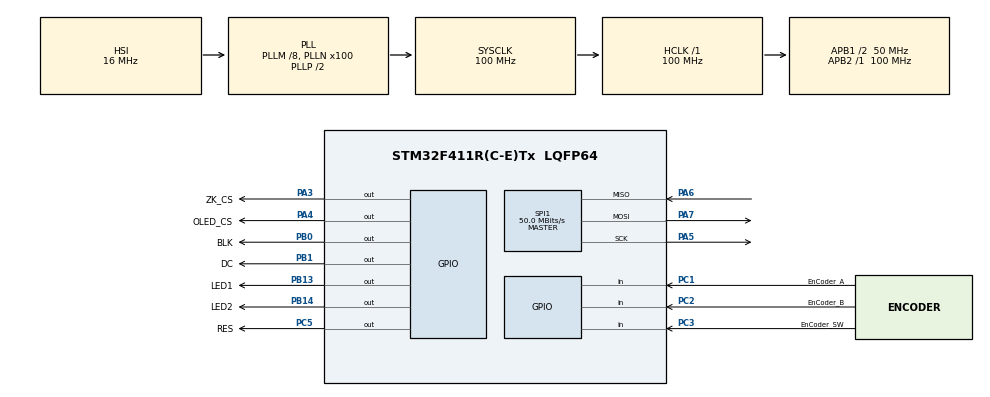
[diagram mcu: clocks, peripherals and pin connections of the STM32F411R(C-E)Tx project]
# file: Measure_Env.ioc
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Dma.Request0=SPI1_TX
Dma.SPI1_TX.0.Direction=DMA_MEMORY_TO_PERIPH
Dma.SPI1_TX.0.FIFOMode=DMA_FIFOMODE_DISABLE
Dma.SPI1_TX.0.Instance=DMA2_Stream2
Dma.SPI1_TX.0.MemDataAlignment=DMA_MDATAALIGN_BYTE
Dma.SPI1_TX.0.MemInc=DMA_MINC_ENABLE
Dma.SPI1_TX.0.Mode=DMA_NORMAL
Dma.SPI1_TX.0.PeriphDataAlignment=DMA_PDATAALIGN_BYTE
Dma.SPI1_TX.0.PeriphInc=DMA_PINC_DISABLE
Dma.SPI1_TX.0.Priority=DMA_PRIORITY_MEDIUM
Mcu.Family=STM32F4
Mcu.Name=STM32F411R(C-E)Tx
Mcu.Package=LQFP64
NVIC.DMA2_Stream2_IRQn=true\:0\:0\:false\:false\:true\:false\:true
NVIC.PriorityGroup=NVIC_PRIORITYGROUP_4
NVIC.TIM1_UP_TIM10_IRQn=true\:0\:0\:false\:false\:true\:true\:true
PA13.Mode=Serial_Wire
PA13.Signal=SYS_JTMS-SWDIO
PA14.Mode=Serial_Wire
PA14.Signal=SYS_JTCK-SWCLK
PA3.GPIO_Label=ZK_CS
PA3.GPIO_Speed=GPIO_SPEED_FREQ_VERY_HIGH
PA3.Signal=GPIO_Output
PA4.GPIO_Label=OLED_CS
PA4.GPIO_Speed=GPIO_SPEED_FREQ_VERY_HIGH
PA4.Signal=GPIO_Output
PA5.Mode=Full_Duplex_Master
PA5.Signal=SPI1_SCK
PA6.Mode=Full_Duplex_Master
PA6.Signal=SPI1_MISO
PA7.Mode=Full_Duplex_Master
PA7.Signal=SPI1_MOSI
PB0.GPIO_Label=BLK
PB0.GPIO_Speed=GPIO_SPEED_FREQ_VERY_HIGH
PB0.Signal=GPIO_Output
PB1.GPIO_Label=DC
PB1.GPIO_Speed=GPIO_SPEED_FREQ_VERY_HIGH
PB1.Signal=GPIO_Output
PB13.GPIO_Label=LED1
PB13.GPIO_Speed=GPIO_SPEED_FREQ_VERY_HIGH
PB13.Signal=GPIO_Output
PB14.GPIO_Label=LED2
PB14.GPIO_Speed=GPIO_SPEED_FREQ_VERY_HIGH
PB14.Signal=GPIO_Output
PC1.GPIO_Label=EnCoder_A
PC1.GPIO_PuPd=GPIO_PULLUP
PC1.Signal=GPIO_Input
PC2.GPIO_Label=EnCoder_B
PC2.GPIO_PuPd=GPIO_PULLUP
PC2.Signal=GPIO_Input
PC3.GPIO_Label=EnCoder_SW
PC3.GPIO_PuPd=GPIO_PULLUP
PC3.Signal=GPIO_Input
PC5.GPIO_Label=RES
PC5.GPIO_Speed=GPIO_SPEED_FREQ_VERY_HIGH
PC5.Signal=GPIO_Output
PH0\ -\ OSC_IN.Mode=HSE-External-Oscillator
PH0\ -\ OSC_IN.Signal=RCC_OSC_IN
PH1\ -\ OSC_OUT.Mode=HSE-External-Oscillator
PH1\ -\ OSC_OUT.Signal=RCC_OSC_OUT
ProjectManager.HeapSize=0x1000
ProjectManager.StackSize=0x1000
ProjectManager.TargetToolchain=MDK-ARM V5.27
RCC.48MHZClocksFreq_Value=50000000
RCC.AHBFreq_Value=100000000
RCC.APB1CLKDivider=RCC_HCLK_DIV2
RCC.APB1Freq_Value=50000000
RCC.APB1TimFreq_Value=100000000
RCC.APB2Freq_Value=100000000
RCC.APB2TimFreq_Value=100000000
RCC.CortexFreq_Value=100000000
RCC.HCLKFreq_Value=100000000
RCC.HSE_VALUE=25000000
RCC.HSI_VALUE=16000000
RCC.LSE_VALUE=32768
RCC.PLLM=8
RCC.PLLN=100
RCC.SYSCLKFreq_VALUE=100000000
RCC.SYSCLKSource=RCC_SYSCLKSOURCE_PLLCLK
RCC.VCOOutputFreq_Value=200000000
SPI1.BaudRatePrescaler=SPI_BAUDRATEPRESCALER_2
SPI1.CLKPhase=SPI_PHASE_2EDGE
SPI1.CLKPolarity=SPI_POLARITY_HIGH
SPI1.CalculateBaudRate=50.0 MBits/s
SPI1.Direction=SPI_DIRECTION_2LINES
SPI1.Mode=SPI_MODE_MASTER
SPI1.VirtualType=VM_MASTER
TIM1.AutoReloadPreload=TIM_AUTORELOAD_PRELOAD_ENABLE
TIM1.Period=999
TIM1.Prescaler=99
VP_TIM1_VS_ClockSourceINT.Mode=Internal
board=custom

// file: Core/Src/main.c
/* USER CODE BEGIN Header */
/**
  ******************************************************************************
  * @file           : main.c
  * @brief          : Main program body
  ******************************************************************************
  * @attention
  *
  * <h2><center>&copy; Copyright (c) 2022 STMicroelectronics.
  * All rights reserved.</center></h2>
  *
  * This software component is licensed by ST under BSD 3-Clause license,
  * the "License"; You may not use this file except in compliance with the
  * License. You may obtain a copy of the License at:
  *                        opensource.org/licenses/BSD-3-Clause
  *
  ******************************************************************************
  */
/* USER CODE END Header */
#include "main.h"
#include "dma.h"
#include "spi.h"
#include "tim.h"
#include "gpio.h"

/* USER CODE BEGIN Includes */
#include "system.h"
#include "lcd_init.h"
#include "lcd.h"

#include "pic.h"

#include "lvgl.h"
#include "lv_port_disp.h"
#include "lv_port_indev.h"
#include "lv_demo_widgets.h"
#include "ui.h"
#include "ui_helpers.h"
//#include "lv_demo_widgets.h"
/* USER CODE END Includes */

void SystemClock_Config(void);

int main(void)
{

  /* MCU Configuration--------------------------------------------------------*/

  /* Reset of all peripherals, Initializes the Flash interface and the Systick. */
  HAL_Init();

  /* Configure the system clock */
  SystemClock_Config();

  /* Initialize all configured peripherals */
  MX_GPIO_Init();
  MX_DMA_Init();
  MX_SPI1_Init();
  MX_TIM1_Init();
  /* USER CODE BEGIN 2 */

	LCD_Init();//LCD
//	LCD_Fill(0,0,LCD_W,LCD_H,WHITE);

	lv_init();											//lvgl系统初始化
	lv_port_disp_init();						//lvgl显示接口初始化,放在lv_init()的后面
	lv_port_indev_init();						//lvgl输入接口初始化,放在lv_init()的后面

  ui_init();

	System_Init();
  /* USER CODE END 2 */

  /* Infinite loop */
  /* USER CODE BEGIN WHILE */
  while (1)
  {
		System_Run();
		lv_task_handler();//LittleVGL必须要调用的任务处理函数
    /* USER CODE END WHILE */

  }
}

void SystemClock_Config(void)
{
  RCC_OscInitTypeDef RCC_OscInitStruct = {0};
  RCC_ClkInitTypeDef RCC_ClkInitStruct = {0};

  /** Configure the main internal regulator output voltage
  */
  __HAL_RCC_PWR_CLK_ENABLE();
  __HAL_PWR_VOLTAGESCALING_CONFIG(PWR_REGULATOR_VOLTAGE_SCALE1);
  /** Initializes the RCC Oscillators according to the specified parameters
  * in the RCC_OscInitTypeDef structure.
  */
  RCC_OscInitStruct.OscillatorType = RCC_OSCILLATORTYPE_HSI;
  RCC_OscInitStruct.HSIState = RCC_HSI_ON;
  RCC_OscInitStruct.HSICalibrationValue = RCC_HSICALIBRATION_DEFAULT;
  RCC_OscInitStruct.PLL.PLLState = RCC_PLL_ON;
  RCC_OscInitStruct.PLL.PLLSource = RCC_PLLSOURCE_HSI;
  RCC_OscInitStruct.PLL.PLLM = 8;
  RCC_OscInitStruct.PLL.PLLN = 100;
  RCC_OscInitStruct.PLL.PLLP = RCC_PLLP_DIV2;
  RCC_OscInitStruct.PLL.PLLQ = 4;
  if (HAL_RCC_OscConfig(&RCC_OscInitStruct) != HAL_OK)
  {
    Error_Handler();
  }
  /** Initializes the CPU, AHB and APB buses clocks
  */
  RCC_ClkInitStruct.ClockType = RCC_CLOCKTYPE_HCLK|RCC_CLOCKTYPE_SYSCLK
                              |RCC_CLOCKTYPE_PCLK1|RCC_CLOCKTYPE_PCLK2;
  RCC_ClkInitStruct.SYSCLKSource = RCC_SYSCLKSOURCE_PLLCLK;
  RCC_ClkInitStruct.AHBCLKDivider = RCC_SYSCLK_DIV1;
  RCC_ClkInitStruct.APB1CLKDivider = RCC_HCLK_DIV2;
  RCC_ClkInitStruct.APB2CLKDivider = RCC_HCLK_DIV1;

  if (HAL_RCC_ClockConfig(&RCC_ClkInitStruct, FLASH_LATENCY_3) != HAL_OK)
  {
    Error_Handler();
  }
}

void Error_Handler(void)
{
  __disable_irq();
  while (1)
  {
  }
}

/************************ (C) COPYRIGHT STMicroelectronics *****END OF FILE****/
